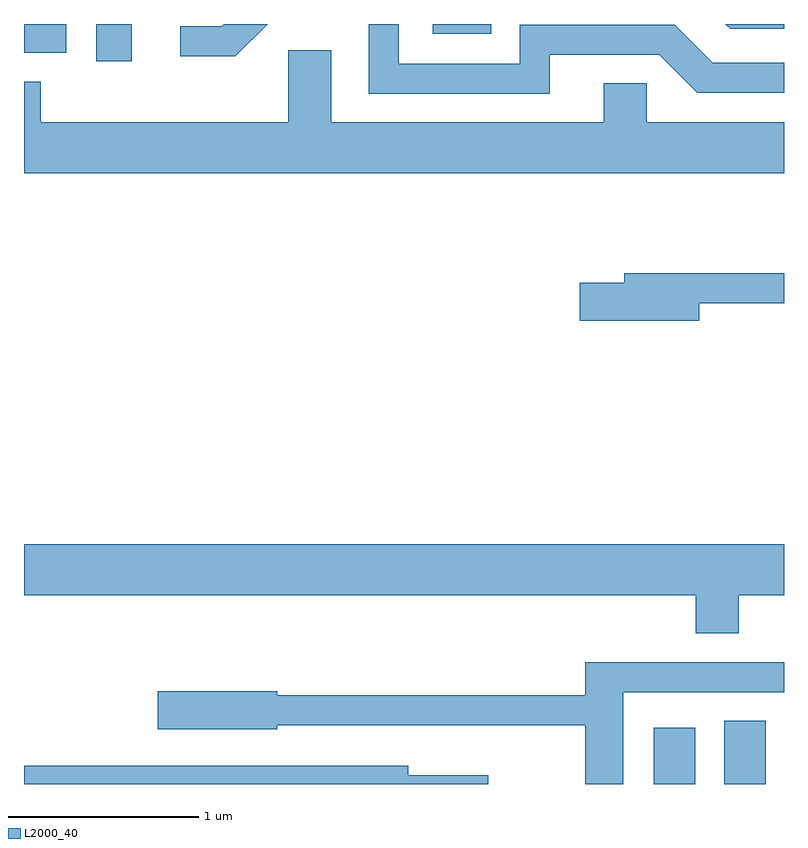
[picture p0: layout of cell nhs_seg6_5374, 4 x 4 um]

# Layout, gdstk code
import gdstk
lib = gdstk.Library(unit=1e-6, precision=1e-09)
def R(c, l, rs):  # rectangles x0, y0, x1, y1
    for r in rs: c.add(gdstk.rectangle(r[:2], r[2:], *l))
def P(c, l, *ps):  # polygons
    for p in ps: c.add(gdstk.Polygon(p, *l))
L2000_40 = (2000, 40)

nhs_seg6_5374 = lib.new_cell('nhs_seg6_5374')
R(nhs_seg6_5374, L2000_40, [(352.926,1540.162,353.144,1540.459), (353.296,1540.162,353.514,1540.494), (349.991,1543.966,350.179,1544.162), (349.611,1544.011,349.834,1544.162), (351.761,1544.111,352.069,1544.162)])
P(nhs_seg6_5374, L2000_40, [(350.893,1544.162),(350.662,1544.162),(350.649,1544.149),(350.433,1544.149),(350.433,1543.991),(350.722,1543.991)],
  [(352.379,1544.001),(352.954,1544.001),(353.154,1543.801),(353.611,1543.801),(353.611,1543.959),(353.237,1543.959),(353.037,1544.159),(352.221,1544.159),(352.221,1543.954),(351.584,1543.954),(351.584,1544.162),(351.426,1544.162),(351.426,1543.796),(352.379,1543.796)],
  [(353.611,1544.162),(353.303,1544.162),(353.329,1544.136),(353.611,1544.136)],
  [(353.611,1543.644),(352.889,1543.644),(352.889,1543.849),(352.661,1543.849),(352.661,1543.644),(351.229,1543.644),(351.229,1544.024),(351.001,1544.024),(351.001,1543.644),(349.699,1543.644),(349.699,1543.859),(349.611,1543.859),(349.611,1543.376),(353.611,1543.376)],
  [(353.164,1542.691),(353.611,1542.691),(353.611,1542.849),(352.771,1542.849),(352.771,1542.799),(352.536,1542.799),(352.536,1542.601),(353.164,1542.601)],
  [(353.374,1541.156),(353.611,1541.156),(353.611,1541.424),(349.611,1541.424),(349.611,1541.156),(353.146,1541.156),(353.146,1540.956),(353.374,1540.956)],
  [(352.764,1540.646),(353.611,1540.646),(353.611,1540.804),(352.566,1540.804),(352.566,1540.629),(350.944,1540.629),(350.944,1540.649),(350.316,1540.649),(350.316,1540.451),(350.944,1540.451),(350.944,1540.471),(352.566,1540.471),(352.566,1540.162),(352.764,1540.162)],
  [(352.054,1540.209),(351.634,1540.209),(351.634,1540.259),(349.611,1540.259),(349.611,1540.162),(352.054,1540.162)])

lib.write_gds('nhs_seg6_5374.gds')
